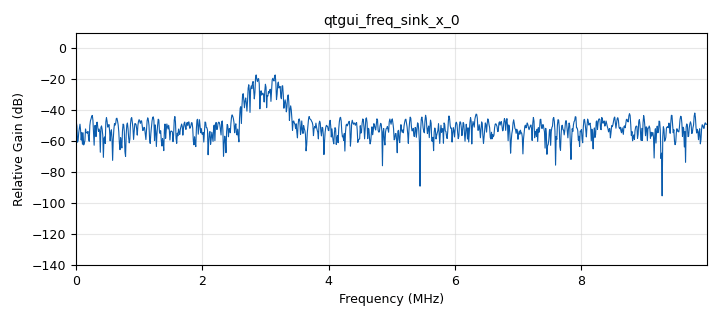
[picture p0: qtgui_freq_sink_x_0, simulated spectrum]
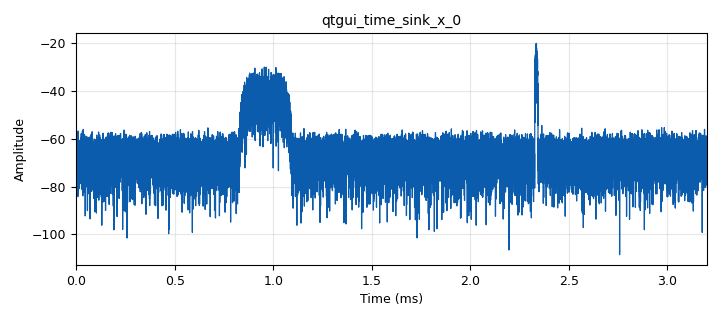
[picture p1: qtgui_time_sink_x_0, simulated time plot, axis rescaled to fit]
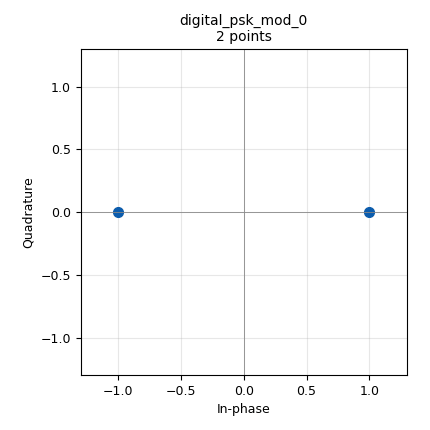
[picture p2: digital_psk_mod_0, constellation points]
<?xml version='1.0' encoding='utf-8'?>
<?grc format='1' created='3.7.10'?>
<flow_graph>
<block>
<key>options</key>
<param><key>id</key><value>signal_extractor</value></param>
<param><key>generate_options</key><value>qt_gui</value></param>
</block>
<block>
<key>variable</key>
<param><key>id</key><value>fft_size</value></param>
<param><key>value</key><value>32000</value></param>
</block>
<block>
<key>variable_qtgui_range</key>
<param><key>id</key><value>freq_range</value></param>
<param><key>value</key><value>2.3e6</value></param>
<param><key>orient</key><value>Qt.Horizontal</value></param>
<param><key>start</key><value>1e6</value></param>
<param><key>step</key><value>1e6</value></param>
<param><key>stop</key><value>10e6</value></param>
</block>
<block>
<key>variable</key>
<param><key>id</key><value>samp_rate</value></param>
<param><key>value</key><value>10e6</value></param>
</block>
<block>
<key>analog_noise_source_x</key>
<param><key>id</key><value>analog_noise_source_x_0</value></param>
<param><key>amp</key><value>0.2</value></param>
<param><key>noise_type</key><value>analog.GR_GAUSSIAN</value></param>
<param><key>type</key><value>complex</value></param>
<param><key>seed</key><value>0</value></param>
</block>
<block>
<key>analog_random_source_x</key>
<param><key>id</key><value>analog_random_source_x_0</value></param>
<param><key>max</key><value>255</value></param>
<param><key>min</key><value>0</value></param>
<param><key>num_samps</key><value>1000</value></param>
<param><key>type</key><value>byte</value></param>
<param><key>repeat</key><value>True</value></param>
</block>
<block>
<key>analog_random_source_x</key>
<param><key>id</key><value>analog_random_source_x_0_0</value></param>
<param><key>max</key><value>255</value></param>
<param><key>min</key><value>0</value></param>
<param><key>num_samps</key><value>1000</value></param>
<param><key>type</key><value>byte</value></param>
<param><key>repeat</key><value>True</value></param>
</block>
<block>
<key>analog_sig_source_x</key>
<param><key>id</key><value>analog_sig_source_x_0_0</value></param>
<param><key>amp</key><value>1</value></param>
<param><key>freq</key><value>2.3e6</value></param>
<param><key>offset</key><value>0</value></param>
<param><key>type</key><value>complex</value></param>
<param><key>samp_rate</key><value>samp_rate</value></param>
<param><key>waveform</key><value>analog.GR_COS_WAVE</value></param>
</block>
<block>
<key>analog_sig_source_x</key>
<param><key>id</key><value>analog_sig_source_x_0_0_0</value></param>
<param><key>amp</key><value>1</value></param>
<param><key>freq</key><value>8e6</value></param>
<param><key>offset</key><value>0</value></param>
<param><key>type</key><value>complex</value></param>
<param><key>samp_rate</key><value>samp_rate</value></param>
<param><key>waveform</key><value>analog.GR_COS_WAVE</value></param>
</block>
<block>
<key>blocks_add_xx</key>
<param><key>id</key><value>blocks_add_xx_0</value></param>
<param><key>type</key><value>complex</value></param>
</block>
<block>
<key>blocks_add_xx</key>
<param><key>id</key><value>blocks_add_xx_0_0</value></param>
<param><key>type</key><value>complex</value></param>
</block>
<block>
<key>blocks_complex_to_mag_squared</key>
<param><key>id</key><value>blocks_complex_to_mag_squared_0_0</value></param>
</block>
<block>
<key>blocks_message_debug</key>
<param><key>id</key><value>blocks_message_debug_0</value></param>
</block>
<block>
<key>blocks_multiply_const_vxx</key>
<param><key>id</key><value>blocks_multiply_const_vxx_0_0</value></param>
<param><key>const</key><value>1.0/fft_size</value></param>
<param><key>type</key><value>complex</value></param>
</block>
<block>
<key>blocks_multiply_xx</key>
<param><key>id</key><value>blocks_multiply_xx_0</value></param>
<param><key>type</key><value>complex</value></param>
</block>
<block>
<key>blocks_multiply_xx</key>
<param><key>id</key><value>blocks_multiply_xx_0_0</value></param>
<param><key>type</key><value>complex</value></param>
</block>
<block>
<key>blocks_nlog10_ff</key>
<param><key>id</key><value>blocks_nlog10_ff_0_0</value></param>
<param><key>k</key><value>0</value></param>
<param><key>n</key><value>10</value></param>
</block>
<block>
<key>blocks_stream_to_vector</key>
<param><key>id</key><value>blocks_stream_to_vector_1</value></param>
<param><key>type</key><value>complex</value></param>
<param><key>num_items</key><value>fft_size</value></param>
</block>
<block>
<key>blocks_throttle</key>
<param><key>id</key><value>blocks_throttle_0</value></param>
<param><key>samples_per_second</key><value>samp_rate</value></param>
<param><key>type</key><value>complex</value></param>
</block>
<block>
<key>blocks_vector_to_stream</key>
<param><key>id</key><value>blocks_vector_to_stream_1</value></param>
<param><key>type</key><value>complex</value></param>
<param><key>num_items</key><value>fft_size</value></param>
</block>
<block>
<key>digital_psk_mod</key>
<param><key>id</key><value>digital_psk_mod_0</value></param>
<param><key>differential</key><value>True</value></param>
<param><key>excess_bw</key><value>0.35</value></param>
<param><key>mod_code</key><value>"gray"</value></param>
<param><key>constellation_points</key><value>2</value></param>
<param><key>samples_per_symbol</key><value>256</value></param>
</block>
<block>
<key>digital_psk_mod</key>
<param><key>id</key><value>digital_psk_mod_0_0</value></param>
<param><key>differential</key><value>True</value></param>
<param><key>excess_bw</key><value>0.35</value></param>
<param><key>mod_code</key><value>"gray"</value></param>
<param><key>constellation_points</key><value>2</value></param>
<param><key>samples_per_symbol</key><value>16</value></param>
</block>
<block>
<key>fft_vxx</key>
<param><key>id</key><value>fft_vxx_1</value></param>
<param><key>fft_size</key><value>fft_size</value></param>
<param><key>forward</key><value>True</value></param>
<param><key>type</key><value>complex</value></param>
<param><key>shift</key><value>True</value></param>
<param><key>window</key><value>window.blackmanharris(fft_size)</value></param>
</block>
<block>
<key>phasma_signal_extractor</key>
<param><key>id</key><value>phasma_signal_extractor_0</value></param>
<param><key>total_bw</key><value>10e6</value></param>
<param><key>channel_bw</key><value>20e3</value></param>
<param><key>threshold_db</key><value>-45</value></param>
<param><key>ifft_size</key><value>64</value></param>
<param><key>sig_num</key><value>10</value></param>
<param><key>samp_rate</key><value>10e6</value></param>
<param><key>signal_duration</key><value>100e-3</value></param>
<param><key>silence_guardband</key><value>100</value></param>
</block>
<block>
<key>qtgui_freq_sink_x</key>
<param><key>id</key><value>qtgui_freq_sink_x_0</value></param>
<param><key>bw</key><value>samp_rate</value></param>
<param><key>fc</key><value>5e6</value></param>
<param><key>ctrlpanel</key><value>True</value></param>
<param><key>fftsize</key><value>1024</value></param>
<param><key>showports</key><value>True</value></param>
<param><key>type</key><value>complex</value></param>
<param><key>wintype</key><value>firdes.WIN_BLACKMAN_hARRIS</value></param>
</block>
<block>
<key>qtgui_time_sink_x</key>
<param><key>id</key><value>qtgui_time_sink_x_0</value></param>
<param><key>ctrlpanel</key><value>True</value></param>
<param><key>color1</key><value>"blue"</value></param>
<param><key>label1</key><value></value></param>
<param><key>size</key><value>fft_size</value></param>
<param><key>srate</key><value>samp_rate</value></param>
<param><key>type</key><value>float</value></param>
</block>
<block>
<key>uhd_usrp_source</key>
<param><key>id</key><value>uhd_usrp_source_0</value></param>
<param><key>ant0</key><value>RX2</value></param>
<param><key>bw0</key><value>samp_rate</value></param>
<param><key>center_freq0</key><value>1e9</value></param>
<param><key>dc_offs_enb0</key><value>""</value></param>
<param><key>iq_imbal_enb0</key><value>""</value></param>
<param><key>norm_gain0</key><value>False</value></param>
<param><key>gain0</key><value>25</value></param>
<param><key>clock_rate</key><value>0.0</value></param>
<param><key>dev_args</key><value>""</value></param>
<param><key>_enabled</key><value>0</value></param>
<param><key>type</key><value>fc32</value></param>
<param><key>samp_rate</key><value>samp_rate</value></param>
<param><key>hide_cmd_port</key><value>False</value></param>
<param><key>hide_lo_controls</key><value>True</value></param>
<param><key>sync</key><value></value></param>
</block>
<connection><source_block_id>analog_noise_source_x_0</source_block_id><sink_block_id>blocks_add_xx_0_0</sink_block_id><source_key>0</source_key><sink_key>0</sink_key></connection>
<connection><source_block_id>analog_random_source_x_0</source_block_id><sink_block_id>digital_psk_mod_0</sink_block_id><source_key>0</source_key><sink_key>0</sink_key></connection>
<connection><source_block_id>analog_random_source_x_0_0</source_block_id><sink_block_id>digital_psk_mod_0_0</sink_block_id><source_key>0</source_key><sink_key>0</sink_key></connection>
<connection><source_block_id>analog_sig_source_x_0_0</source_block_id><sink_block_id>blocks_multiply_xx_0</sink_block_id><source_key>0</source_key><sink_key>1</sink_key></connection>
<connection><source_block_id>analog_sig_source_x_0_0_0</source_block_id><sink_block_id>blocks_multiply_xx_0_0</sink_block_id><source_key>0</source_key><sink_key>1</sink_key></connection>
<connection><source_block_id>blocks_add_xx_0</source_block_id><sink_block_id>blocks_add_xx_0_0</sink_block_id><source_key>0</source_key><sink_key>1</sink_key></connection>
<connection><source_block_id>blocks_add_xx_0_0</source_block_id><sink_block_id>blocks_throttle_0</sink_block_id><source_key>0</source_key><sink_key>0</sink_key></connection>
<connection><source_block_id>blocks_add_xx_0_0</source_block_id><sink_block_id>qtgui_freq_sink_x_0</sink_block_id><source_key>0</source_key><sink_key>0</sink_key></connection>
<connection><source_block_id>blocks_complex_to_mag_squared_0_0</source_block_id><sink_block_id>blocks_nlog10_ff_0_0</sink_block_id><source_key>0</source_key><sink_key>0</sink_key></connection>
<connection><source_block_id>blocks_complex_to_mag_squared_0_0</source_block_id><sink_block_id>phasma_signal_extractor_0</sink_block_id><source_key>0</source_key><sink_key>0</sink_key></connection>
<connection><source_block_id>blocks_multiply_const_vxx_0_0</source_block_id><sink_block_id>blocks_complex_to_mag_squared_0_0</sink_block_id><source_key>0</source_key><sink_key>0</sink_key></connection>
<connection><source_block_id>blocks_multiply_xx_0</source_block_id><sink_block_id>blocks_add_xx_0</sink_block_id><source_key>0</source_key><sink_key>0</sink_key></connection>
<connection><source_block_id>blocks_multiply_xx_0_0</source_block_id><sink_block_id>blocks_add_xx_0</sink_block_id><source_key>0</source_key><sink_key>1</sink_key></connection>
<connection><source_block_id>blocks_nlog10_ff_0_0</source_block_id><sink_block_id>qtgui_time_sink_x_0</sink_block_id><source_key>0</source_key><sink_key>0</sink_key></connection>
<connection><source_block_id>blocks_stream_to_vector_1</source_block_id><sink_block_id>fft_vxx_1</sink_block_id><source_key>0</source_key><sink_key>0</sink_key></connection>
<connection><source_block_id>blocks_throttle_0</source_block_id><sink_block_id>blocks_stream_to_vector_1</sink_block_id><source_key>0</source_key><sink_key>0</sink_key></connection>
<connection><source_block_id>blocks_vector_to_stream_1</source_block_id><sink_block_id>blocks_multiply_const_vxx_0_0</sink_block_id><source_key>0</source_key><sink_key>0</sink_key></connection>
<connection><source_block_id>blocks_vector_to_stream_1</source_block_id><sink_block_id>phasma_signal_extractor_0</sink_block_id><source_key>0</source_key><sink_key>1</sink_key></connection>
<connection><source_block_id>digital_psk_mod_0</source_block_id><sink_block_id>blocks_multiply_xx_0</sink_block_id><source_key>0</source_key><sink_key>0</sink_key></connection>
<connection><source_block_id>digital_psk_mod_0_0</source_block_id><sink_block_id>blocks_multiply_xx_0_0</sink_block_id><source_key>0</source_key><sink_key>0</sink_key></connection>
<connection><source_block_id>fft_vxx_1</source_block_id><sink_block_id>blocks_vector_to_stream_1</sink_block_id><source_key>0</source_key><sink_key>0</sink_key></connection>
<connection><source_block_id>phasma_signal_extractor_0</source_block_id><sink_block_id>blocks_message_debug_0</sink_block_id><source_key>out</source_key><sink_key>print</sink_key></connection>
<connection><source_block_id>uhd_usrp_source_0</source_block_id><sink_block_id>blocks_stream_to_vector_1</sink_block_id><source_key>0</source_key><sink_key>0</sink_key></connection>
</flow_graph>
